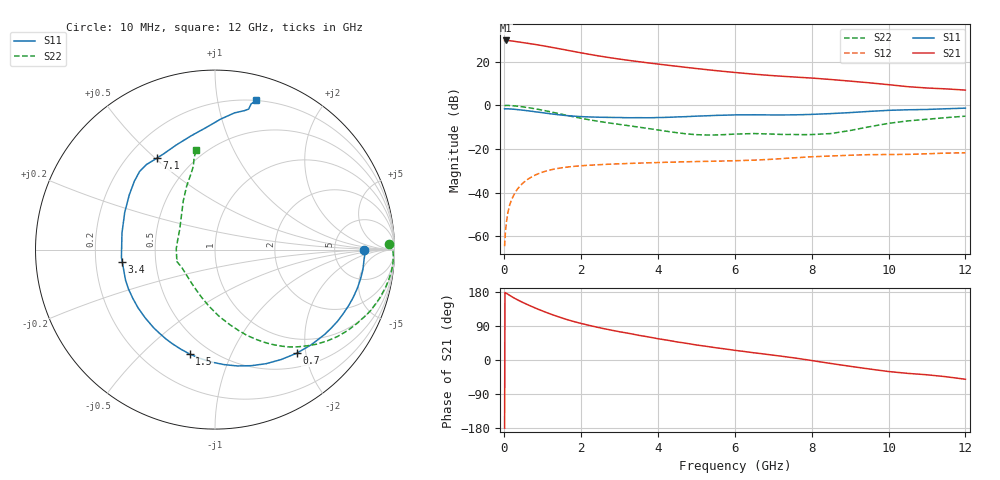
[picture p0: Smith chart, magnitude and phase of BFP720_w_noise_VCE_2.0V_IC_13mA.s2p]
! Infineon Technologies  Discrete & RF Semiconductors
! BFP720
! VCE =  2.0 V,  IC =  13 mA
! Common Emitter S-Parameters:  Aug 2012
# GHz  S  MA  R  50
!  f  S11  S21  S12  S22
! GHz  MAG  ANG  MAG  ANG  MAG  ANG  MAG  ANG
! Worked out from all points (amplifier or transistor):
!   105 points, 10 MHz to 12 GHz, reference 50 ohm
!   highest |S21| = 29.7 dB at 50 MHz (marker M1)
!   |S21| within 3 dB of that: start of sweep to 1.19 GHz
!   unconditionally stable (mu >= 1): 5.057 GHz to 11.21 GHz
!   at 300 MHz: K = 0.11, MSG = 34.3 dB, |S12| = -39.4 dB
!   at 3.6 GHz: K = 0.78, MSG = 23.1 dB, |S12| = -26.4 dB
!   at 12 GHz: K = 0.81, MSG = 14.4 dB, |S12| = -21.7 dB
!   lowest NFmin = 0.59 dB at 450 MHz
!   S11 on the Smith chart (normalised r, x): 10 MHz: 11, -0; 700 MHz: 0.73, -1.83; 1.5 GHz: 0.39, -0.71; 3.4 GHz: 0.32, -0.06; 7.1 GHz: 0.32, +0.50; 12 GHz: 0.20, +1.30
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0.01  0.8274 -0.3  30.14 -179.8  0.0006 -59.2  0.9683 1.9
0.02  0.8361 -1.6  30.26 178.2  0.0009 90.4  0.9918 -0.5
0.05  0.8323 -3.8  30.53 176.4  0.0018 85.7  0.9941 -2.2
0.15  0.8269 -11.7  30.06 170.1  0.0055 83.3  0.9899 -7.3
0.25  0.8145 -19.3  29.3 164.0  0.0089 79.9  0.9747 -12.1
0.35  0.7985 -26.7  28.39 158.6  0.0123 76.0  0.9552 -16.7
0.5  0.7729 -37.6  27.14 151.1  0.0171 70.2  0.9198 -23.2
0.7  0.735 -51.8  25.53 141.9  0.0227 63.3  0.865 -31.5
0.9  0.6967 -65.8  23.95 133.3  0.0276 56.9  0.806 -39.1
1.1  0.6599 -79.2  22.33 125.3  0.0316 51.2  0.7435 -46.1
1.5  0.5988 -103.6  19.23 111.1  0.0373 41.8  0.625 -58.1
1.8  0.5672 -119.2  17.15 101.8  0.0401 36.5  0.5489 -65.5
2.1  0.5475 -131.9  15.33 94.1  0.042 32.4  0.4879 -71.7
2.6  0.5324 -149.3  12.91 82.5  0.0445 27.4  0.4114 -80.7
3.4  0.5214 -172.4  10.25 67.2  0.0474 22.0  0.3269 -94.0
4.1  0.5279 167.4  8.597 54.6  0.0495 18.7  0.2654 -108.8
5  0.5663 147.6  6.961 39.6  0.0518 15.1  0.2137 -137.1
6.1  0.6054 132.9  5.551 24.3  0.0544 13.0  0.2212 -161.6
7.1  0.6037 122.6  4.712 11.4  0.0594 12.4  0.2178 -168.7
8.5  0.6476 101.9  3.902 -9.2  0.0694 5.6  0.2265 150.2
10.5  0.7916 78.0  2.678 -35.3  0.0756 -6.1  0.4403 107.8
12  0.8629 74.5  2.236 -50.8  0.082 -14.4  0.5655 100.6
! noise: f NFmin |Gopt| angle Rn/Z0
0.45  0.59  0.25  1  0.17
1.8  0.65  0.23  16  0.13
2.4  0.7  0.21  29  0.37
5.5  0.86  0.09  -13  0.17
10  1.05  0.42  -76  0.26
